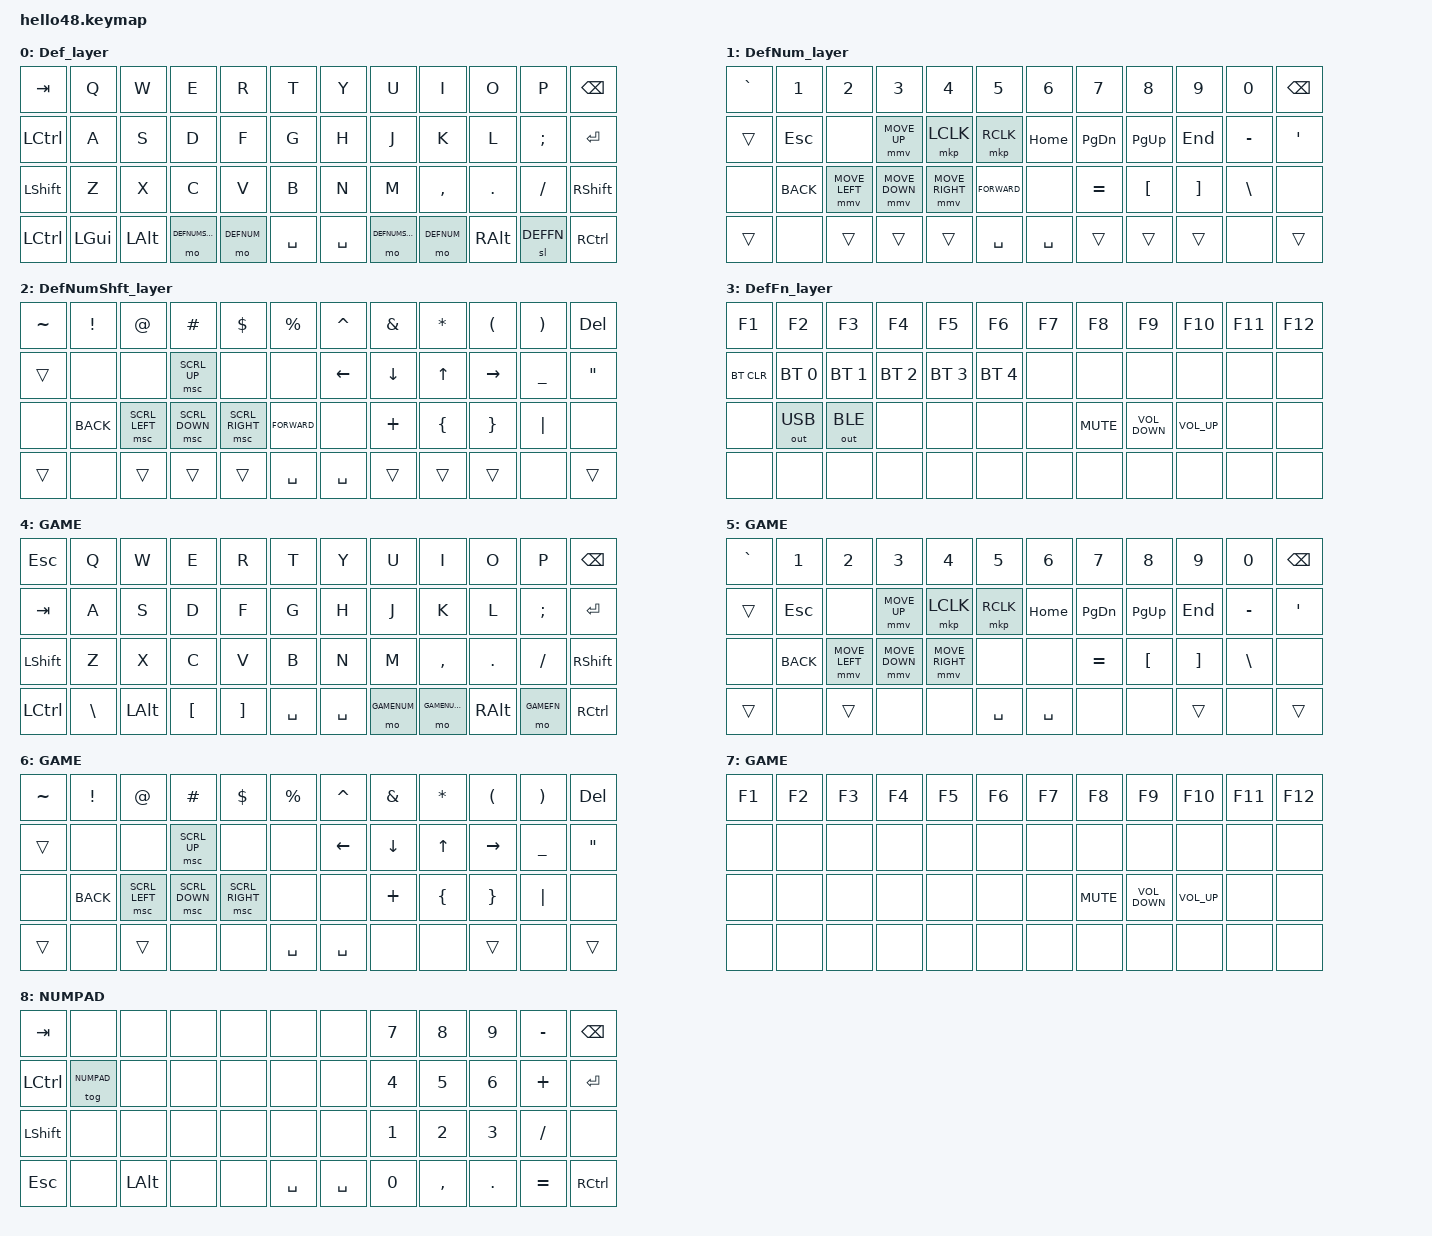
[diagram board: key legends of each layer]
#include <behaviors.dtsi>
#include <dt-bindings/zmk/keys.h>
#include <dt-bindings/zmk/bt.h>
#include <dt-bindings/zmk/outputs.h>

#define ZMK_POINTING_DEFAULT_MOVE_VAL 1500  // default: 600
#define ZMK_POINTING_DEFAULT_SCRL_VAL 20    // default: 10
#include <dt-bindings/zmk/pointing.h>

#define DEF 0 
#define DEFNUM 1
#define DEFNUMSHFT 2
#define DEFFN 3
#define GAME 4
#define GAMENUM 5
#define GAMENUMSHFT 6
#define GAMEFN 7
#define NUMPAD 8

&sl {
    release-after-ms = <3000>;
  };

/ {
  combos {
    compatible = "zmk,combos";
    
    combo_GameToggle {
      timeout-ms = <50>;
      key-positions = <0 11 36 47>;
      layers = <DEF GAME>;
      bindings = <&tog GAME>; 
    };
	  combo_NumPad {
      timeout-ms = <50>;
      key-positions = <19 20 33>;
      layers = <DEF NUMPAD>;
      bindings = <&tog NUMPAD>; 
    };
	  combo_CapsLock {
      timeout-ms = <50>;
      key-positions = <24 35>;
      layers = <DEF GAME>;
      bindings = <&kp CAPS>; 
    };
    combo_StudioUnlock {
      timeout-ms = <50>;
      key-positions = <1 10 25 34>;
      layers = <DEF GAME>;
      bindings = <&studio_unlock>; 
    };
  };
  
  keymap {
    compatible = "zmk,keymap";

    Def_layer {
      bindings = <
// ╭─────────────┬─────────────┬─────────────┬─────────────┬─────────────┬─────────────┬─────────────┬─────────────┬─────────────┬─────────────┬─────────────┬─────────────╮
      &kp TAB         &kp Q        &kp W          &kp E         &kp R         &kp T         &kp Y         &kp U         &kp I        &kp O         &kp P      &kp BACKSPACE
// ├─────────────┼─────────────┼─────────────┼─────────────┼─────────────┼─────────────┼─────────────┼─────────────┼─────────────┼─────────────┼─────────────┼─────────────┤
   &kp LEFT_CONTROL   &kp A        &kp S          &kp D         &kp F         &kp G         &kp H         &kp J         &kp K        &kp L      &kp SEMICOLON  &kp RETURN
// ├─────────────┼─────────────┼─────────────┼─────────────┼─────────────┼─────────────┼─────────────┼─────────────┼─────────────┼─────────────┼─────────────┼─────────────┤
   &kp LEFT_SHIFT     &kp Z        &kp X          &kp C         &kp V         &kp B         &kp N         &kp M       &kp COMMA      &kp DOT      &kp SLASH  &kp RIGHT_SHIFT
// ├─────────────┼─────────────┼─────────────┼─────────────┼─────────────┼─────────────┼─────────────┼─────────────┼─────────────┼─────────────┼─────────────┼─────────────┤
   &kp LEFT_CONTROL &kp LEFT_GUI &kp LEFT_ALT &mo DEFNUMSHFT &mo DEFNUM     &kp SPACE     &kp SPACE  &mo DEFNUMSHFT  &mo DEFNUM   &kp RIGHT_ALT  &sl DEFFN &kp RIGHT_CONTROL
// ╰─────────────┴─────────────┴─────────────┴─────────────┴─────────────┴─────────────┴─────────────┴─────────────┴─────────────┴─────────────┴─────────────┴─────────────╯
      >;
    };

    DefNum_layer {
      bindings = <
// ╭─────────────┬─────────────┬─────────────┬─────────────┬─────────────┬─────────────┬─────────────┬─────────────┬─────────────┬─────────────┬─────────────┬─────────────╮
      &kp GRAVE      &kp N1        &kp N2         &kp N3       &kp N4        &kp N5        &kp N6        &kp N7        &kp N8        &kp N9         &kp N0    &kp BACKSPACE
// ├─────────────┼─────────────┼─────────────┼─────────────┼─────────────┼─────────────┼─────────────┼─────────────┼─────────────┼─────────────┼─────────────┼─────────────┤
		&trans      &kp ESCAPE      &none      &mmv MOVE_UP   &mkp LCLK     &mkp RCLK     &kp HOME      &kp PG_DN     &kp PG_UP      &kp END      &kp MINUS  &kp SINGLE_QUOTE
// ├─────────────┼─────────────┼─────────────┼─────────────┼─────────────┼─────────────┼─────────────┼─────────────┼─────────────┼─────────────┼─────────────┼─────────────┤
		&none      &kp K_BACK  &mmv MOVE_LEFT &mmv MOVE_DOWN &mmv MOVE_RIGHT  &kp K_FORWARD     &none      &kp EQUAL  &kp LEFT_BRACKET &kp RIGHT_BRACKET &kp BACKSLASH &none
// ├─────────────┼─────────────┼─────────────┼─────────────┼─────────────┼─────────────┼─────────────┼─────────────┼─────────────┼─────────────┼─────────────┼─────────────┤
		&trans        &none        &trans        &trans         &trans      &kp SPACE     &kp SPACE      &trans         &trans       &trans         &none        &trans 
// ╰─────────────┴─────────────┴─────────────┴─────────────┴─────────────┴─────────────┴─────────────┴─────────────┴─────────────┴─────────────┴─────────────┴─────────────╯
      >;
    };

    DefNumShft_layer {
      bindings = <
// ╭─────────────┬─────────────┬─────────────┬─────────────┬─────────────┬─────────────┬─────────────┬─────────────┬─────────────┬─────────────┬─────────────┬─────────────╮
      &kp TILDE  &kp EXCLAMATION &kp AT_SIGN    &kp HASH     &kp DOLLAR    &kp PERCENT &kp CARET &kp AMPERSAND &kp ASTERISK &kp LEFT_PARENTHESIS &kp RIGHT_PARENTHESIS &kp DEL
// ├─────────────┼─────────────┼─────────────┼─────────────┼─────────────┼─────────────┼─────────────┼─────────────┼─────────────┼─────────────┼─────────────┼─────────────┤
		&trans        &none         &none     &msc SCRL_UP      &none         &none       &kp LEFT      &kp DOWN      &kp UP        &kp RIGHT  &kp UNDERSCORE &kp DOUBLE_QUOTES
// ├─────────────┼─────────────┼─────────────┼─────────────┼─────────────┼─────────────┼─────────────┼─────────────┼─────────────┼─────────────┼─────────────┼─────────────┤
		&none      &kp K_BACK  &msc SCRL_LEFT &msc SCRL_DOWN &msc SCRL_RIGHT  &kp K_FORWARD     &none       &kp PLUS   &kp LEFT_BRACE &kp RIGHT_BRACE &kp PIPE        &none
// ├─────────────┼─────────────┼─────────────┼─────────────┼─────────────┼─────────────┼─────────────┼─────────────┼─────────────┼─────────────┼─────────────┼─────────────┤
		&trans        &none         &trans        &trans       &trans       &kp SPACE     &kp SPACE      &trans        &trans         &trans        &none         &trans 
// ╰─────────────┴─────────────┴─────────────┴─────────────┴─────────────┴─────────────┴─────────────┴─────────────┴─────────────┴─────────────┴─────────────┴─────────────╯
      >;
    };

    DefFn_layer {
      bindings = <
// ╭─────────────┬─────────────┬─────────────┬─────────────┬─────────────┬─────────────┬─────────────┬─────────────┬─────────────┬─────────────┬─────────────┬─────────────╮
        &kp F1       &kp F2        &kp F3        &kp F4        &kp F5        &kp F6         &kp F7       &kp F8         &kp F9       &kp F10       &kp F11       &kp F12
// ├─────────────┼─────────────┼─────────────┼─────────────┼─────────────┼─────────────┼─────────────┼─────────────┼─────────────┼─────────────┼─────────────┼─────────────┤
	 &bt BT_CLR   &bt BT_SEL 0  &bt BT_SEL 1  &bt BT_SEL 2  &bt BT_SEL 3  &bt BT_SEL 4      &none         &none         &none         &none         &none         &none
// ├─────────────┼─────────────┼─────────────┼─────────────┼─────────────┼─────────────┼─────────────┼─────────────┼─────────────┼─────────────┼─────────────┼─────────────┤
		&none     &out OUT_USB  &out OUT_BLE      &none         &none         &none         &none    &kp K_MUTE &kp K_VOLUME_DOWN &kp K_VOLUME_UP   &none         &none
// ├─────────────┼─────────────┼─────────────┼─────────────┼─────────────┼─────────────┼─────────────┼─────────────┼─────────────┼─────────────┼─────────────┼─────────────┤
		&none       &none           &none         &none         &none         &none         &none         &none         &none         &none         &none         &none 
// ╰─────────────┴─────────────┴─────────────┴─────────────┴─────────────┴─────────────┴─────────────┴─────────────┴─────────────┴─────────────┴─────────────┴─────────────╯
      >;
    };

    Game_layer {
      display-name = "GAME";
      bindings = <
// ╭─────────────┬─────────────┬─────────────┬─────────────┬─────────────┬─────────────┬─────────────┬─────────────┬─────────────┬─────────────┬─────────────┬─────────────╮
     &kp ESCAPE       &kp Q         &kp W         &kp E         &kp R         &kp T         &kp Y         &kp U         &kp I         &kp O         &kp P     &kp BACKSPACE
// ├─────────────┼─────────────┼─────────────┼─────────────┼─────────────┼─────────────┼─────────────┼─────────────┼─────────────┼─────────────┼─────────────┼─────────────┤
	   &kp TAB        &kp A         &kp S         &kp D         &kp F         &kp G         &kp H         &kp J         &kp K         &kp L     &kp SEMICOLON  &kp RETURN
// ├─────────────┼─────────────┼─────────────┼─────────────┼─────────────┼─────────────┼─────────────┼─────────────┼─────────────┼─────────────┼─────────────┼─────────────┤
   &kp LEFT_SHIFT     &kp Z         &kp X         &kp C         &kp V         &kp B         &kp N         &kp M       &kp COMMA      &kp DOT      &kp SLASH  &kp RIGHT_SHIFT
// ├─────────────┼─────────────┼─────────────┼─────────────┼─────────────┼─────────────┼─────────────┼─────────────┼─────────────┼─────────────┼─────────────┼─────────────┤
   &kp LEFT_CONTROL &kp BACKSLASH &kp LEFT_ALT &kp LEFT_BRACKET &kp RIGHT_BRACKET &kp SPACE &kp SPACE &mo GAMENUM &mo GAMENUMSHFT &kp RIGHT_ALT &mo GAMEFN  &kp RIGHT_CONTROL
// ╰─────────────┴─────────────┴─────────────┴─────────────┴─────────────┴─────────────┴─────────────┴─────────────┴─────────────┴─────────────┴─────────────┴─────────────╯
		>;
    };

    GameNum_layer {
      display-name = "GAME";
      bindings = <
// ╭─────────────┬─────────────┬─────────────┬─────────────┬─────────────┬─────────────┬─────────────┬─────────────┬─────────────┬─────────────┬─────────────┬─────────────╮
      &kp GRAVE      &kp N1        &kp N2         &kp N3       &kp N4        &kp N5        &kp N6        &kp N7        &kp N8        &kp N9        &kp N0     &kp BACKSPACE
// ├─────────────┼─────────────┼─────────────┼─────────────┼─────────────┼─────────────┼─────────────┼─────────────┼─────────────┼─────────────┼─────────────┼─────────────┤
      &trans       &kp ESCAPE      &none       &mmv MOVE_UP   &mkp LCLK     &mkp RCLK     &kp HOME      &kp PG_DN     &kp PG_UP      &kp END      &kp MINUS  &kp SINGLE_QUOTE
// ├─────────────┼─────────────┼─────────────┼─────────────┼─────────────┼─────────────┼─────────────┼─────────────┼─────────────┼─────────────┼─────────────┼─────────────┤
	  &none        &kp K_BACK   &mmv MOVE_LEFT &mmv MOVE_DOWN &mmv MOVE_RIGHT &none        &none     &kp EQUAL &kp LEFT_BRACKET &kp RIGHT_BRACKET &kp BACKSLASH   &none
// ├─────────────┼─────────────┼─────────────┼─────────────┼─────────────┼─────────────┼─────────────┼─────────────┼─────────────┼─────────────┼─────────────┼─────────────┤
	  &trans          &none        &trans         &none         &none       &kp SPACE     &kp SPACE      &none          &none         &trans       &none          &trans
// ╰─────────────┴─────────────┴─────────────┴─────────────┴─────────────┴─────────────┴─────────────┴─────────────┴─────────────┴─────────────┴─────────────┴─────────────╯
      >;
    };

    GameNumShft_layer {
      display-name = "GAME";
      bindings = <
// ╭─────────────┬─────────────┬─────────────┬─────────────┬─────────────┬─────────────┬─────────────┬─────────────┬─────────────┬─────────────┬─────────────┬─────────────╮
      &kp TILDE  &kp EXCLAMATION &kp AT_SIGN    &kp HASH     &kp DOLLAR  &kp PERCENT &kp CARET  &kp AMPERSAND &kp ASTERISK &kp LEFT_PARENTHESIS &kp RIGHT_PARENTHESIS &kp DEL
// ├─────────────┼─────────────┼─────────────┼─────────────┼─────────────┼─────────────┼─────────────┼─────────────┼─────────────┼─────────────┼─────────────┼─────────────┤
		&trans        &none         &none     &msc SCRL_UP      &none        &none        &kp LEFT      &kp DOWN       &kp UP       &kp RIGHT  &kp UNDERSCORE &kp DOUBLE_QUOTES
// ├─────────────┼─────────────┼─────────────┼─────────────┼─────────────┼─────────────┼─────────────┼─────────────┼─────────────┼─────────────┼─────────────┼─────────────┤
		&none      &kp K_BACK  &msc SCRL_LEFT &msc SCRL_DOWN &msc SCRL_RIGHT &none          &none       &kp PLUS   &kp LEFT_BRACE &kp RIGHT_BRACE &kp PIPE        &none
// ├─────────────┼─────────────┼─────────────┼─────────────┼─────────────┼─────────────┼─────────────┼─────────────┼─────────────┼─────────────┼─────────────┼─────────────┤
		&trans        &none        &trans        &none          &none       &kp SPACE     &kp SPACE       &none         &none         &trans        &none         &trans
// ╰─────────────┴─────────────┴─────────────┴─────────────┴─────────────┴─────────────┴─────────────┴─────────────┴─────────────┴─────────────┴─────────────┴─────────────╯
      >;
    };

    GameFn_layer {
      display-name = "GAME";
      bindings = <
// ╭─────────────┬─────────────┬─────────────┬─────────────┬─────────────┬─────────────┬─────────────┬─────────────┬─────────────┬─────────────┬─────────────┬─────────────╮
        &kp F1       &kp F2        &kp F3        &kp F4         &kp F5       &kp F6         &kp F7        &kp F8        &kp F9       &kp F10        &kp F11      &kp F12
// ├─────────────┼─────────────┼─────────────┼─────────────┼─────────────┼─────────────┼─────────────┼─────────────┼─────────────┼─────────────┼─────────────┼─────────────┤
		&none        &none          &none         &none        &none          &none         &none         &none         &none         &none         &none         &none
// ├─────────────┼─────────────┼─────────────┼─────────────┼─────────────┼─────────────┼─────────────┼─────────────┼─────────────┼─────────────┼─────────────┼─────────────┤
		&none        &none          &none         &none        &none          &none         &none    &kp K_MUTE &kp K_VOLUME_DOWN &kp K_VOLUME_UP   &none         &none
// ├─────────────┼─────────────┼─────────────┼─────────────┼─────────────┼─────────────┼─────────────┼─────────────┼─────────────┼─────────────┼─────────────┼─────────────┤
		&none        &none          &none         &none        &none          &none         &none         &none         &none          &none        &none         &none 
// ╰─────────────┴─────────────┴─────────────┴─────────────┴─────────────┴─────────────┴─────────────┴─────────────┴─────────────┴─────────────┴─────────────┴─────────────╯
      >;
    };

    NumPad_layer {
      display-name = "NUMPAD";
      bindings = <
// ╭─────────────┬─────────────┬─────────────┬─────────────┬─────────────┬─────────────┬─────────────┬─────────────┬─────────────┬─────────────┬─────────────┬─────────────╮
       &kp TAB        &none         &none        &none          &none         &none         &none         &kp N7       &kp N8         &kp N9      &kp MINUS    &kp BACKSPACE
// ├─────────────┼─────────────┼─────────────┼─────────────┼─────────────┼─────────────┼─────────────┼─────────────┼─────────────┼─────────────┼─────────────┼─────────────┤
  &kp LEFT_CONTROL &tog NUMPAD      &none        &none          &none         &none         &none         &kp N4       &kp N5         &kp N6      &kp PLUS     &kp RETURN
// ├─────────────┼─────────────┼─────────────┼─────────────┼─────────────┼─────────────┼─────────────┼─────────────┼─────────────┼─────────────┼─────────────┼─────────────┤
   &kp LEFT_SHIFT     &none         &none        &none          &none         &none         &none         &kp N1       &kp N2         &kp N3      &kp SLASH       &none
// ├─────────────┼─────────────┼─────────────┼─────────────┼─────────────┼─────────────┼─────────────┼─────────────┼─────────────┼─────────────┼─────────────┼─────────────┤
     &kp ESCAPE       &none      &kp LEFT_ALT    &none          &none       &kp SPACE     &kp SPACE       &kp N0      &kp COMMA       &kp DOT     &kp EQUAL &kp RIGHT_CONTROL 
// ╰─────────────┴─────────────┴─────────────┴─────────────┴─────────────┴─────────────┴─────────────┴─────────────┴─────────────┴─────────────┴─────────────┴─────────────╯
      >;
    };
  };
};
